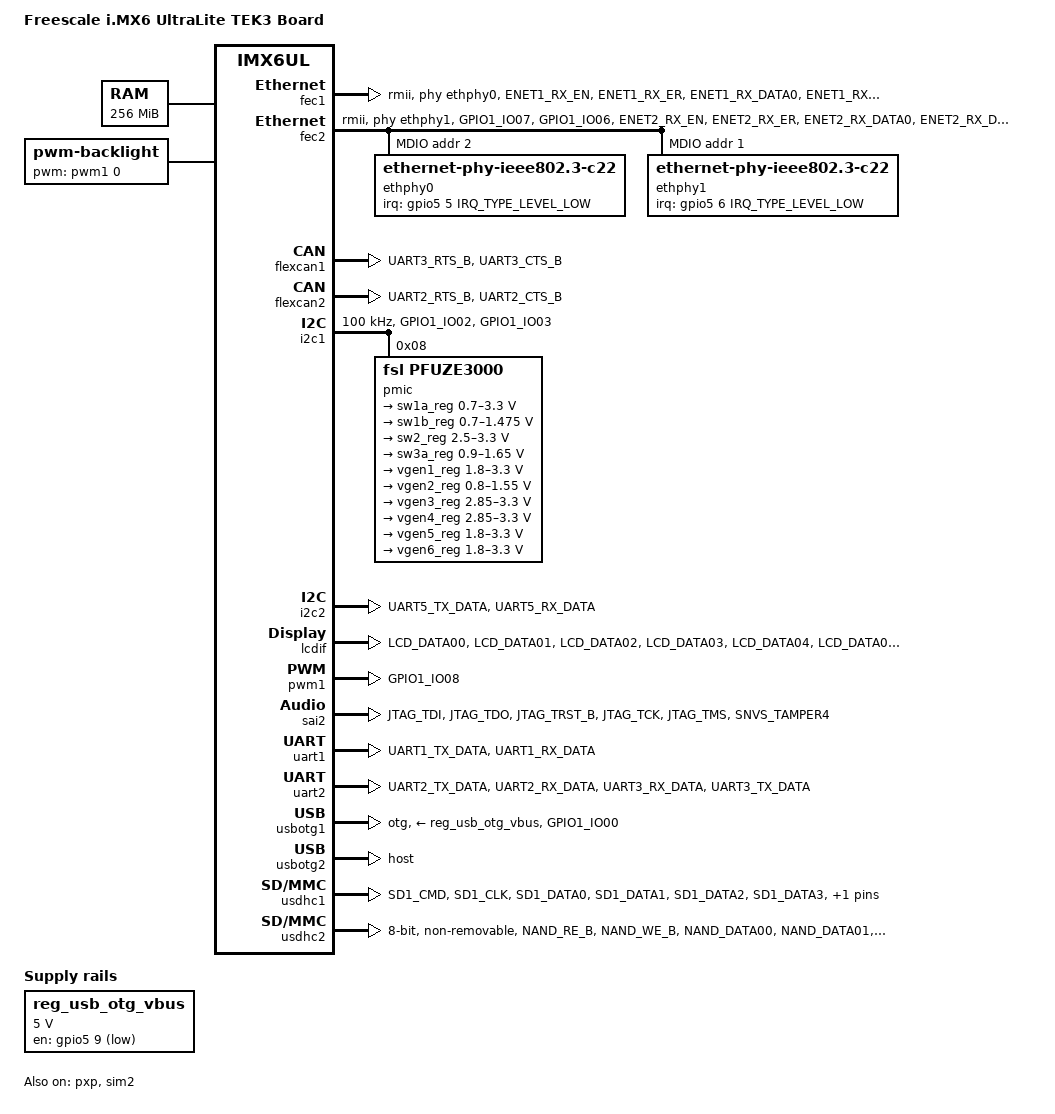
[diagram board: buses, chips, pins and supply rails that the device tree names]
/*
 * Copyright 2016 Technexion Ltd.
 *
 * Author: Richard Hu <richard.hu@technexion.com>
 *
 *
 * This program is free software; you can redistribute it and/or modify
 * it under the terms of the GNU General Public License version 2 as
 * published by the Free Software Foundation.
 *
 */

/dts-v1/;

#include <dt-bindings/input/input.h>
#include "imx6ul.dtsi"

/ {
	model = "Freescale i.MX6 UltraLite TEK3 Board";
	compatible = "fsl,imx6ul-tek3", "fsl,imx6ul";

	chosen {
		stdout-path = &uart1;
	};

	memory {
		reg = <0x80000000 0x10000000>;
	};

	reserved-memory {
		#address-cells = <1>;
		#size-cells = <1>;
		ranges;

		linux,cma {
			compatible = "shared-dma-pool";
			reusable;
			size = <0x6000000>;
			linux,cma-default;
		};
	};

	backlight {
		compatible = "pwm-backlight";
		pwms = <&pwm1 0 5000000>;
		brightness-levels = <0 4 8 16 32 64 128 255>;
		default-brightness-level = <6>;
		status = "okay";
	};

	pxp_v4l2 {
		compatible = "fsl,imx6ul-pxp-v4l2", "fsl,imx6sx-pxp-v4l2", "fsl,imx6sl-pxp-v4l2";
		status = "okay";
	};

	regulators {
		compatible = "simple-bus";
		#address-cells = <1>;
		#size-cells = <0>;

		reg_usb_otg_vbus: regulator@0 {
			compatible = "regulator-fixed";
			reg = <0>;
			pinctrl-names = "default";
			pinctrl-0 = <&pinctrl_usb_otg1>;
			regulator-name = "usb_otg_vbus";
			regulator-min-microvolt = <5000000>;
			regulator-max-microvolt = <5000000>;
			gpio = <&gpio5 9 0>;
		};
	};
};

&cpu0 {
	/*
	 * on i.MX6UL, no seperated VDD_ARM_IN and VDD_SOC_IN,
	 * to align with other platform and use the same cpufreq
	 * driver, still use the seperated OPP define for arm
	 * and soc.
	 */
	operating-points = <
		/* kHz	uV */
		528000	1175000
		396000	1175000
		198000	1175000
	>;
	fsl,soc-operating-points = <
		/* KHz	uV */
		528000	1175000
		396000	1175000
		198000	1175000
	>;
	arm-supply = <&sw1b_reg>;
	soc-supply = <&sw1b_reg>;
	fsl,arm-soc-shared = <1>;
};

&clks {
	assigned-clocks = <&clks IMX6UL_CLK_PLL4_AUDIO_DIV>;
	assigned-clock-rates = <786432000>;
};

&fec1 {
	pinctrl-names = "default";
	pinctrl-0 = <&pinctrl_enet1>;
	phy-mode = "rmii";
	phy-handle = <&ethphy0>;
	status = "okay";
	phy-reset-gpios = <&gpio5 2 GPIO_ACTIVE_LOW>;
	phy-reset-duration = <11>;
};

&fec2 {
	pinctrl-names = "default";
	pinctrl-0 = <&pinctrl_enet2>;
	phy-mode = "rmii";
	phy-handle = <&ethphy1>;
	status = "okay";
	phy-reset-gpios = <&gpio5 3 GPIO_ACTIVE_LOW>;
	phy-reset-duration = <11>;

	mdio {
		#address-cells = <1>;
		#size-cells = <0>;

		ethphy0: ethernet-phy@2 {
			compatible = "ethernet-phy-ieee802.3-c22";
			reg = <2>;
			max-speed = <100>;
			interrupt-parent = <&gpio5>;
			interrupts = <5 IRQ_TYPE_LEVEL_LOW 0>;
		};

		ethphy1: ethernet-phy@1 {
			compatible = "ethernet-phy-ieee802.3-c22";
			reg = <1>;
			max-speed = <100>;
			interrupt-parent = <&gpio5>;
			interrupts = <6 IRQ_TYPE_LEVEL_LOW 0>;
		};
	};
};

&flexcan1 {
	pinctrl-names = "default";
	pinctrl-0 = <&pinctrl_flexcan1>;
	status = "okay";
};

&flexcan2 {
	pinctrl-names = "default";
	pinctrl-0 = <&pinctrl_flexcan2>;
	status = "okay";
};

&gpc {
	fsl,cpu_pupscr_sw2iso = <0x1>;
	fsl,cpu_pupscr_sw = <0x0>;
	fsl,cpu_pdnscr_iso2sw = <0x1>;
	fsl,cpu_pdnscr_iso = <0x1>;
	fsl,ldo-bypass = <0>; /* DCDC, ldo-enable */
};

&i2c1 {
	clock-frequency = <100000>;
	pinctrl-names = "default";
	pinctrl-0 = <&pinctrl_i2c1>;
	status = "okay";

	pmic: pfuze3000@08 {
		compatible = "fsl,pfuze3000";
		reg = <0x08>;

		regulators {
			sw1a_reg: sw1a {
				regulator-min-microvolt = <700000>;
				regulator-max-microvolt = <3300000>;
				regulator-boot-on;
				regulator-always-on;
				regulator-ramp-delay = <6250>;
			};

			/* VDD_ARM_SOC_IN*/
			sw1b_reg: sw1b {
				regulator-min-microvolt = <700000>;
				regulator-max-microvolt = <1475000>;
				regulator-boot-on;
				regulator-always-on;
				regulator-ramp-delay = <6250>;
			};

			sw2_reg: sw2 {
				regulator-min-microvolt = <2500000>;
				regulator-max-microvolt = <3300000>;
				regulator-boot-on;
				regulator-always-on;
			};

			/* DRAM */
			sw3a_reg: sw3 {
				regulator-min-microvolt = <900000>;
				regulator-max-microvolt = <1650000>;
				regulator-boot-on;
				regulator-always-on;
			};

			/* DRAM */
			vref_reg: vrefddr {
				regulator-boot-on;
				regulator-always-on;
			};

			vgen1_reg: vldo1 {
				regulator-min-microvolt = <1800000>;
				regulator-max-microvolt = <3300000>;
				regulator-always-on;
			};

			vgen2_reg: vldo2 {
				regulator-min-microvolt = <800000>;
				regulator-max-microvolt = <1550000>;
				regulator-always-on;
			};

			vgen3_reg: vccsd {
				regulator-min-microvolt = <2850000>;
				regulator-max-microvolt = <3300000>;
				regulator-always-on;
			};

			vgen4_reg: v33 {
				regulator-min-microvolt = <2850000>;
				regulator-max-microvolt = <3300000>;
				regulator-always-on;
			};

			vgen5_reg: vldo3 {
				regulator-min-microvolt = <1800000>;
				regulator-max-microvolt = <3300000>;
				regulator-always-on;
			};

			vgen6_reg: vldo4 {
				regulator-min-microvolt = <1800000>;
				regulator-max-microvolt = <3300000>;
				regulator-always-on;
			};
		};
	};
};

&i2c2 {
	clock_frequency = <100000>;
	pinctrl-names = "default";
	pinctrl-0 = <&pinctrl_i2c2>;
	status = "okay";
};

&iomuxc {
	pinctrl-names = "default";
	pinctrl-0 = <&pinctrl_hog_1>;
	imx6ul-tek3 {
		pinctrl_hog_1: hoggrp-1 {
			fsl,pins = <
				MX6UL_PAD_UART1_RTS_B__USDHC1_CD_B 0x03029 /* SD1 CD */
			>;
		};

		pinctrl_csi1: csi1grp {
			fsl,pins = <
				MX6UL_PAD_CSI_MCLK__CSI_MCLK		0x1b088
				MX6UL_PAD_CSI_PIXCLK__CSI_PIXCLK	0x1b088
				MX6UL_PAD_CSI_VSYNC__CSI_VSYNC		0x1b088
				MX6UL_PAD_CSI_HSYNC__CSI_HSYNC		0x1b088
				MX6UL_PAD_CSI_DATA00__CSI_DATA02	0x1b088
				MX6UL_PAD_CSI_DATA01__CSI_DATA03	0x1b088
				MX6UL_PAD_CSI_DATA02__CSI_DATA04	0x1b088
				MX6UL_PAD_CSI_DATA03__CSI_DATA05	0x1b088
				MX6UL_PAD_CSI_DATA04__CSI_DATA06	0x1b088
				MX6UL_PAD_CSI_DATA05__CSI_DATA07	0x1b088
				MX6UL_PAD_CSI_DATA06__CSI_DATA08	0x1b088
				MX6UL_PAD_CSI_DATA07__CSI_DATA09	0x1b088
			>;
		};

		pinctrl_enet1: enet1grp {
			fsl,pins = <
				MX6UL_PAD_ENET1_RX_EN__ENET1_RX_EN	0x1b0b0
				MX6UL_PAD_ENET1_RX_ER__ENET1_RX_ER	0x1b0b0
				MX6UL_PAD_ENET1_RX_DATA0__ENET1_RDATA00	0x1b0b0
				MX6UL_PAD_ENET1_RX_DATA1__ENET1_RDATA01	0x1b0b0
				MX6UL_PAD_ENET1_TX_EN__ENET1_TX_EN	0x1b0b0
				MX6UL_PAD_ENET1_TX_DATA0__ENET1_TDATA00	0x1b0b0
				MX6UL_PAD_ENET1_TX_DATA1__ENET1_TDATA01	0x1b0b0
				MX6UL_PAD_ENET1_TX_CLK__ENET1_REF_CLK1	0x4001b031
				MX6UL_PAD_SNVS_TAMPER5__GPIO5_IO05	0x800
				MX6UL_PAD_SNVS_TAMPER2__GPIO5_IO02	0x79
			>;
		};

		pinctrl_enet2: enet2grp {
			fsl,pins = <
				MX6UL_PAD_GPIO1_IO07__ENET2_MDC		0x1b0b0
				MX6UL_PAD_GPIO1_IO06__ENET2_MDIO	0x1b0b0
				MX6UL_PAD_ENET2_RX_EN__ENET2_RX_EN	0x1b0b0
				MX6UL_PAD_ENET2_RX_ER__ENET2_RX_ER	0x1b0b0
				MX6UL_PAD_ENET2_RX_DATA0__ENET2_RDATA00	0x1b0b0
				MX6UL_PAD_ENET2_RX_DATA1__ENET2_RDATA01	0x1b0b0
				MX6UL_PAD_ENET2_TX_EN__ENET2_TX_EN	0x1b0b0
				MX6UL_PAD_ENET2_TX_DATA0__ENET2_TDATA00	0x1b0b0
				MX6UL_PAD_ENET2_TX_DATA1__ENET2_TDATA01	0x1b0b0
				MX6UL_PAD_ENET2_TX_CLK__ENET2_REF_CLK2	0x4001b031
				MX6UL_PAD_SNVS_TAMPER6__GPIO5_IO06	0x800
				MX6UL_PAD_SNVS_TAMPER3__GPIO5_IO03	0x79
			>;
		};

		pinctrl_flexcan1: flexcan1grp{
			fsl,pins = <
				MX6UL_PAD_UART3_RTS_B__FLEXCAN1_RX	0x1b020
				MX6UL_PAD_UART3_CTS_B__FLEXCAN1_TX	0x1b020
			>;
		};

		pinctrl_flexcan2: flexcan2grp{
			fsl,pins = <
				MX6UL_PAD_UART2_RTS_B__FLEXCAN2_RX	0x1b020
				MX6UL_PAD_UART2_CTS_B__FLEXCAN2_TX	0x1b020
			>;
		};

		pinctrl_i2c1: i2c1grp {
			fsl,pins = <
				MX6UL_PAD_GPIO1_IO02__I2C1_SCL 0x4001b8b0
				MX6UL_PAD_GPIO1_IO03__I2C1_SDA 0x4001b8b0
			>;
		};

		pinctrl_i2c2: i2c2grp {
			fsl,pins = <
				MX6UL_PAD_UART5_TX_DATA__I2C2_SCL 0x4001b8b0
				MX6UL_PAD_UART5_RX_DATA__I2C2_SDA 0x4001b8b0
			>;
		};

		pinctrl_lcdif_dat: lcdifdatgrp {
			fsl,pins = <
				MX6UL_PAD_LCD_DATA00__LCDIF_DATA00  0x79
				MX6UL_PAD_LCD_DATA01__LCDIF_DATA01  0x79
				MX6UL_PAD_LCD_DATA02__LCDIF_DATA02  0x79
				MX6UL_PAD_LCD_DATA03__LCDIF_DATA03  0x79
				MX6UL_PAD_LCD_DATA04__LCDIF_DATA04  0x79
				MX6UL_PAD_LCD_DATA05__LCDIF_DATA05  0x79
				MX6UL_PAD_LCD_DATA06__LCDIF_DATA06  0x79
				MX6UL_PAD_LCD_DATA07__LCDIF_DATA07  0x79
				MX6UL_PAD_LCD_DATA08__LCDIF_DATA08  0x79
				MX6UL_PAD_LCD_DATA09__LCDIF_DATA09  0x79
				MX6UL_PAD_LCD_DATA10__LCDIF_DATA10  0x79
				MX6UL_PAD_LCD_DATA11__LCDIF_DATA11  0x79
				MX6UL_PAD_LCD_DATA12__LCDIF_DATA12  0x79
				MX6UL_PAD_LCD_DATA13__LCDIF_DATA13  0x79
				MX6UL_PAD_LCD_DATA14__LCDIF_DATA14  0x79
				MX6UL_PAD_LCD_DATA15__LCDIF_DATA15  0x79
				MX6UL_PAD_LCD_DATA16__LCDIF_DATA16  0x79
				MX6UL_PAD_LCD_DATA17__LCDIF_DATA17  0x79
				MX6UL_PAD_LCD_DATA18__LCDIF_DATA18  0x79
				MX6UL_PAD_LCD_DATA19__LCDIF_DATA19  0x79
				MX6UL_PAD_LCD_DATA20__LCDIF_DATA20  0x79
				MX6UL_PAD_LCD_DATA21__LCDIF_DATA21  0x79
				MX6UL_PAD_LCD_DATA22__LCDIF_DATA22  0x79
				MX6UL_PAD_LCD_DATA23__LCDIF_DATA23  0x79
			>;
		};

		pinctrl_lcdif_ctrl: lcdifctrlgrp {
			fsl,pins = <
				MX6UL_PAD_LCD_CLK__LCDIF_CLK	    0x79
				MX6UL_PAD_LCD_ENABLE__LCDIF_ENABLE  0x79
				MX6UL_PAD_LCD_HSYNC__LCDIF_HSYNC    0x79
				MX6UL_PAD_LCD_VSYNC__LCDIF_VSYNC    0x79
			>;
		};

		pinctrl_pwm1: pwm1grp {
			fsl,pins = <
				MX6UL_PAD_GPIO1_IO08__PWM1_OUT   0x110b0
			>;
		};

		pinctrl_usb_otg1_id: usbotg1idgrp {
			fsl,pins = <
				MX6UL_PAD_GPIO1_IO00__ANATOP_OTG1_ID	0x17059
			>;
		};

		pinctrl_usb_otg1: usbotg1grp {
			fsl,pins = <
				MX6UL_PAD_SNVS_TAMPER9__GPIO5_IO09        0x10b0
			>;
		};

		pinctrl_qspi: qspigrp {
			fsl,pins = <
				MX6UL_PAD_NAND_WP_B__QSPI_A_SCLK      0x70a1
				MX6UL_PAD_NAND_READY_B__QSPI_A_DATA00 0x70a1
				MX6UL_PAD_NAND_CE0_B__QSPI_A_DATA01   0x70a1
				MX6UL_PAD_NAND_CE1_B__QSPI_A_DATA02   0x70a1
				MX6UL_PAD_NAND_CLE__QSPI_A_DATA03     0x70a1
				MX6UL_PAD_NAND_DQS__QSPI_A_SS0_B      0x70a1
			>;
		};

		pinctrl_sai2: sai2grp {
			fsl,pins = <
				MX6UL_PAD_JTAG_TDI__SAI2_TX_BCLK	0x17088
				MX6UL_PAD_JTAG_TDO__SAI2_TX_SYNC	0x17088
				MX6UL_PAD_JTAG_TRST_B__SAI2_TX_DATA	0x11088
				MX6UL_PAD_JTAG_TCK__SAI2_RX_DATA	0x11088
				MX6UL_PAD_JTAG_TMS__SAI2_MCLK		0x17088
				MX6UL_PAD_SNVS_TAMPER4__GPIO5_IO04	0x17059
			>;
		};

		pinctrl_sim2_1: sim2grp-1 {
			fsl,pins = <
				MX6UL_PAD_CSI_DATA03__SIM2_PORT1_PD		0xb808
				MX6UL_PAD_CSI_DATA04__SIM2_PORT1_CLK		0x11
				MX6UL_PAD_CSI_DATA05__SIM2_PORT1_RST_B		0xb810
				MX6UL_PAD_CSI_DATA06__SIM2_PORT1_SVEN		0xb810
				MX6UL_PAD_CSI_DATA07__SIM2_PORT1_TRXD		0xb811
				MX6UL_PAD_CSI_DATA02__GPIO4_IO23		0x3008
			>;
		};

		pinctrl_spi4: spi4grp {
			fsl,pins = <
				MX6UL_PAD_BOOT_MODE0__GPIO5_IO10	0x70a1
				MX6UL_PAD_BOOT_MODE1__GPIO5_IO11	0x70a1
				MX6UL_PAD_SNVS_TAMPER7__GPIO5_IO07	0x70a1
				MX6UL_PAD_SNVS_TAMPER8__GPIO5_IO08	0x80000000
			>;
		};

		pinctrl_tsc: tscgrp {
			fsl,pins = <
				MX6UL_PAD_GPIO1_IO01__GPIO1_IO01	0xb0
				MX6UL_PAD_GPIO1_IO02__GPIO1_IO02	0xb0
				MX6UL_PAD_GPIO1_IO03__GPIO1_IO03	0xb0
				MX6UL_PAD_GPIO1_IO04__GPIO1_IO04	0xb0
			>;
		};

		pinctrl_uart1: uart1grp {
			fsl,pins = <
				MX6UL_PAD_UART1_TX_DATA__UART1_DCE_TX 0x1b0b1
				MX6UL_PAD_UART1_RX_DATA__UART1_DCE_RX 0x1b0b1
			>;
		};

		pinctrl_uart2: uart2grp {
			fsl,pins = <
				MX6UL_PAD_UART2_TX_DATA__UART2_DCE_TX	0x1b0b1
				MX6UL_PAD_UART2_RX_DATA__UART2_DCE_RX	0x1b0b1
				MX6UL_PAD_UART3_RX_DATA__UART2_DCE_RTS	0x1b0b1
				MX6UL_PAD_UART3_TX_DATA__UART2_DCE_CTS	0x1b0b1
			>;
		};

		pinctrl_uart2dte: uart2dtegrp {
			fsl,pins = <
				MX6UL_PAD_UART2_TX_DATA__UART2_DTE_RX	0x1b0b1
				MX6UL_PAD_UART2_RX_DATA__UART2_DTE_TX	0x1b0b1
				MX6UL_PAD_UART3_RX_DATA__UART2_DTE_CTS	0x1b0b1
				MX6UL_PAD_UART3_TX_DATA__UART2_DTE_RTS	0x1b0b1
			>;
		};

		pinctrl_usdhc1: usdhc1grp {
			fsl,pins = <
				MX6UL_PAD_SD1_CMD__USDHC1_CMD     0x17059
				MX6UL_PAD_SD1_CLK__USDHC1_CLK     0x10071
				MX6UL_PAD_SD1_DATA0__USDHC1_DATA0 0x17059
				MX6UL_PAD_SD1_DATA1__USDHC1_DATA1 0x17059
				MX6UL_PAD_SD1_DATA2__USDHC1_DATA2 0x17059
				MX6UL_PAD_SD1_DATA3__USDHC1_DATA3 0x17059
			>;
		};

		pinctrl_usdhc1_100mhz: usdhc1grp100mhz {
			fsl,pins = <
				MX6UL_PAD_SD1_CMD__USDHC1_CMD     0x170b9
				MX6UL_PAD_SD1_CLK__USDHC1_CLK     0x100b9
				MX6UL_PAD_SD1_DATA0__USDHC1_DATA0 0x170b9
				MX6UL_PAD_SD1_DATA1__USDHC1_DATA1 0x170b9
				MX6UL_PAD_SD1_DATA2__USDHC1_DATA2 0x170b9
				MX6UL_PAD_SD1_DATA3__USDHC1_DATA3 0x170b9
			>;
		};

		pinctrl_usdhc1_200mhz: usdhc1grp200mhz {
			fsl,pins = <
				MX6UL_PAD_SD1_CMD__USDHC1_CMD     0x170f9
				MX6UL_PAD_SD1_CLK__USDHC1_CLK     0x100f9
				MX6UL_PAD_SD1_DATA0__USDHC1_DATA0 0x170f9
				MX6UL_PAD_SD1_DATA1__USDHC1_DATA1 0x170f9
				MX6UL_PAD_SD1_DATA2__USDHC1_DATA2 0x170f9
				MX6UL_PAD_SD1_DATA3__USDHC1_DATA3 0x170f9
			>;
		};

		pinctrl_usdhc2: usdhc2grp {
			fsl,pins = <
				MX6UL_PAD_NAND_RE_B__USDHC2_CLK     0x10069
				MX6UL_PAD_NAND_WE_B__USDHC2_CMD     0x17059
				MX6UL_PAD_NAND_DATA00__USDHC2_DATA0 0x17059
				MX6UL_PAD_NAND_DATA01__USDHC2_DATA1 0x17059
				MX6UL_PAD_NAND_DATA02__USDHC2_DATA2 0x17059
				MX6UL_PAD_NAND_DATA03__USDHC2_DATA3 0x17059
				MX6UL_PAD_NAND_DATA04__USDHC2_DATA4 0x17059
				MX6UL_PAD_NAND_DATA05__USDHC2_DATA5 0x17059
				MX6UL_PAD_NAND_DATA06__USDHC2_DATA6 0x17059
				MX6UL_PAD_NAND_DATA07__USDHC2_DATA7 0x17059
			>;
		};

		pinctrl_wdog: wdoggrp {
			fsl,pins = <
				MX6UL_PAD_LCD_RESET__WDOG1_WDOG_ANY    0x30b0
			>;
		};
	};
};

&lcdif {
	pinctrl-names = "default";
	pinctrl-0 = <&pinctrl_lcdif_dat
		     &pinctrl_lcdif_ctrl>;
	display = <&display0>;
	status = "okay";

	display0: display {
		bits-per-pixel = <24>;
		bus-width = <24>;

		display-timings {
			native-mode = <&vga_timing0>;
			vga_timing0: vga_timing0 {
			clock-frequency = <74929000>;
			hactive = <1024>;
			vactive = <768>;
			hback-porch = <144>;
			hfront-porch = <24>;
			vback-porch = <29>;
			vfront-porch = <3>;
			hsync-len = <136>;
			vsync-len = <6>;
			hsync-active = <0>;
			vsync-active = <0>;
			de-active = <1>;
			pixelclk-active = <0>;
			interlaced =  <0>;
			};
		};
	};
};

&pwm1 {
	pinctrl-names = "default";
	pinctrl-0 = <&pinctrl_pwm1>;
	status = "okay";
};

&pxp {
	status = "okay";
};

&sai2 {
	pinctrl-names = "default";
	pinctrl-0 = <&pinctrl_sai2>;

	assigned-clocks = <&clks IMX6UL_CLK_SAI2_SEL>,
			  <&clks IMX6UL_CLK_SAI2>;
	assigned-clock-parents = <&clks IMX6UL_CLK_PLL4_AUDIO_DIV>;
	assigned-clock-rates = <0>, <12288000>;

	status = "okay";
};

&sim2 {
	pinctrl-names = "default";
	pinctrl-0 = <&pinctrl_sim2_1>;
	assigned-clocks = <&clks IMX6UL_CLK_SIM_SEL>;
	assigned-clock-parents = <&clks IMX6UL_CLK_SIM_PODF>;
	assigned-clock-rates = <240000000>;
	/* GPIO_ACTIVE_HIGH/LOW:sim card voltage control
	 * NCN8025:Vcc = ACTIVE_HIGH?5V:3V
	 * TDA8035:Vcc = ACTIVE_HIGH?5V:1.8V
	 */
	pinctrl-assert-gpios = <&gpio4 23 GPIO_ACTIVE_HIGH>;
	port = <1>;
	sven_low_active;
	status = "okay";
};

&uart1 {
	pinctrl-names = "default";
	pinctrl-0 = <&pinctrl_uart1>;
	status = "okay";
};

&uart2 {
	pinctrl-names = "default";
	pinctrl-0 = <&pinctrl_uart2>;
	fsl,uart-has-rtscts;
	/* for DTE mode, add below change */
	/* fsl,dte-mode; */
	/* pinctrl-0 = <&pinctrl_uart2dte>; */
	status = "okay";
};

&usbotg1 {
	dr_mode = "otg";
	srp-disable;
	hnp-disable;
	adp-disable;
	status = "okay";
};

&usbotg1 {
	vbus-supply = <&reg_usb_otg_vbus>;
	pinctrl-names = "default";
	pinctrl-0 = <&pinctrl_usb_otg1_id>;
	dr_mode = "otg";
	disable-over-current;
	status = "okay";
};

&usbotg2 {
	dr_mode = "host";
	disable-over-current;
	status = "okay";
};

&usbphy1 {
	tx-d-cal = <0x5>;
};

&usbphy2 {
	tx-d-cal = <0x5>;
};

/* Baseboard microSD slot */
&usdhc1 {
	pinctrl-names = "default";
	pinctrl-0 = <&pinctrl_usdhc1>;
	cd-gpios = <&gpio1 19 GPIO_ACTIVE_LOW>;
	keep-power-in-suspend;
	enable-sdio-wakeup;
	status = "okay";
};

/* Module i-Nand */
&usdhc2 {
	pinctrl-names = "default";
	pinctrl-0 = <&pinctrl_usdhc2>;
	bus-width = <8>;
	no-1-8-v;
	non-removable;
	keep-power-in-suspend;
	enable-sdio-wakeup;
	status = "okay";
};

&wdog1 {
	pinctrl-names = "default";
	pinctrl-0 = <&pinctrl_wdog>;
	fsl,wdog_b;
};
